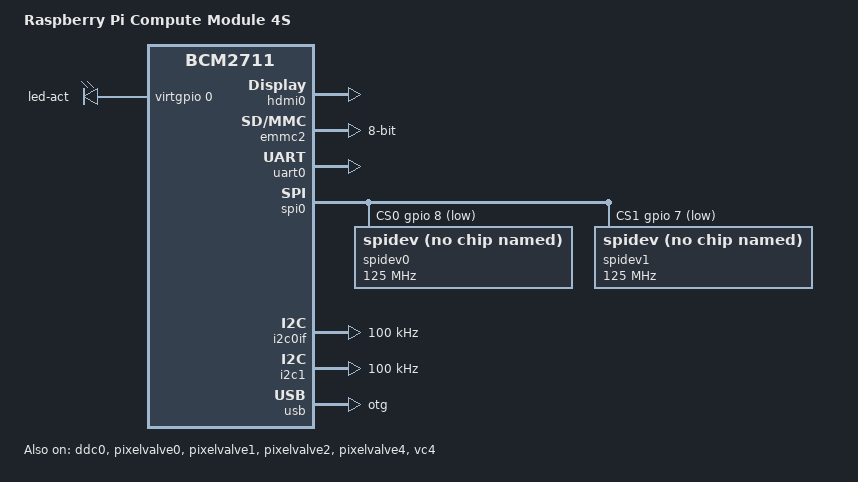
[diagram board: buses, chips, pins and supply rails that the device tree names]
// SPDX-License-Identifier: GPL-2.0
/dts-v1/;
#define BCM2711
#define i2c0 i2c0if
#include "bcm2711.dtsi"
//#include "bcm283x-rpi-wifi-bt.dtsi"
#undef i2c0
#include "bcm270x.dtsi"
#define i2c0 i2c0mux
#include "bcm2711-rpi.dtsi"
#undef i2c0

/ {
	compatible = "raspberrypi,4-compute-module-s", "brcm,bcm2711";
	model = "Raspberry Pi Compute Module 4S";

	leds {
		led-act {
			gpios = <&virtgpio 0 0>;
		};
	};
};

&ddc0 {
	status = "okay";
};

&gpio {
	/*
	 * Parts taken from rpi_SCH_4b_4p0_reduced.pdf and
	 * the official GPU firmware DT blob.
	 *
	 * Legend:
	 * "FOO" = GPIO line named "FOO" on the schematic
	 * "FOO_N" = GPIO line named "FOO" on schematic, active low
	 */
	gpio-line-names = "ID_SDA",
			  "ID_SCL",
			  "SDA1",
			  "SCL1",
			  "GPIO_GCLK",
			  "GPIO5",
			  "GPIO6",
			  "SPI_CE1_N",
			  "SPI_CE0_N",
			  "SPI_MISO",
			  "SPI_MOSI",
			  "SPI_SCLK",
			  "GPIO12",
			  "GPIO13",
			  /* Serial port */
			  "TXD1",
			  "RXD1",
			  "GPIO16",
			  "GPIO17",
			  "GPIO18",
			  "GPIO19",
			  "GPIO20",
			  "GPIO21",
			  "GPIO22",
			  "GPIO23",
			  "GPIO24",
			  "GPIO25",
			  "GPIO26",
			  "GPIO27",
			  "GPIO28",
			  "GPIO29",
			  "GPIO30",
			  "GPIO31",
			  "GPIO32",
			  "GPIO33",
			  "GPIO34",
			  "GPIO35",
			  "GPIO36",
			  "GPIO37",
			  "GPIO38",
			  "GPIO39",
			  "PWM0_MISO",
			  "PWM1_MOSI",
			  "GPIO42",
			  "GPIO43",
			  "GPIO44",
			  "GPIO45";
};

&hdmi0 {
	status = "okay";
};

&pixelvalve0 {
	status = "okay";
};

&pixelvalve1 {
	status = "okay";
};

&pixelvalve2 {
	status = "okay";
};

&pixelvalve4 {
	status = "okay";
};

&pwm1 {
	pinctrl-names = "default";
	pinctrl-0 = <&pwm1_0_gpio40 &pwm1_1_gpio41>;
	status = "okay";
};

/* EMMC2 is used to drive the EMMC card */
&emmc2 {
	bus-width = <8>;
	broken-cd;
	status = "okay";
};

&pcie0 {
	status = "disabled";
};

&vchiq {
	interrupts = <GIC_SPI 34 IRQ_TYPE_LEVEL_HIGH>;
};

&vc4 {
	status = "okay";
};

&vec {
	status = "disabled";
};

// =============================================
// Downstream rpi- changes

#include "bcm2711-rpi-ds.dtsi"

/ {
	soc {
		/delete-node/ pixelvalve@7e807000;
		/delete-node/ hdmi@7e902000;

		virtgpio: virtgpio {
			compatible = "brcm,bcm2835-virtgpio";
			gpio-controller;
			#gpio-cells = <2>;
			firmware = <&firmware>;
			status = "okay";
		};
	};
};

#include "bcm283x-rpi-csi0-2lane.dtsi"
#include "bcm283x-rpi-csi1-4lane.dtsi"
#include "bcm283x-rpi-i2c0mux_0_28.dtsi"

/ {
	chosen {
		bootargs = "coherent_pool=1M snd_bcm2835.enable_headphones=0";
	};

	aliases {
		serial0 = &uart0;
		serial1 = &uart1;
		/delete-property/ i2c20;
		/delete-property/ i2c21;
	};

	/delete-node/ wifi-pwrseq;
};

&uart0 {
	pinctrl-names = "default";
	pinctrl-0 = <&uart0_pins>;
	status = "okay";
};

&spi0 {
	pinctrl-names = "default";
	pinctrl-0 = <&spi0_pins &spi0_cs_pins>;
	cs-gpios = <&gpio 8 1>, <&gpio 7 1>;

	spidev0: spidev@0{
		compatible = "spidev";
		reg = <0>;	/* CE0 */
		#address-cells = <1>;
		#size-cells = <0>;
		spi-max-frequency = <125000000>;
	};

	spidev1: spidev@1{
		compatible = "spidev";
		reg = <1>;	/* CE1 */
		#address-cells = <1>;
		#size-cells = <0>;
		spi-max-frequency = <125000000>;
	};
};

&gpio {
	uart0_pins: uart0_pins {
		brcm,pins;
		brcm,function;
		brcm,pull;
	};
};

&i2c0if {
	clock-frequency = <100000>;
};

&i2c1 {
	pinctrl-names = "default";
	pinctrl-0 = <&i2c1_pins>;
	clock-frequency = <100000>;
};

&i2s {
	pinctrl-names = "default";
	pinctrl-0 = <&i2s_pins>;
};

// =============================================
// Board specific stuff here

/* Enable USB in OTG-aware mode */
&usb {
	compatible = "brcm,bcm2835-usb";
	dr_mode = "otg";
	g-np-tx-fifo-size = <32>;
	g-rx-fifo-size = <558>;
	g-tx-fifo-size = <512 512 512 512 512 256 256>;
	status = "okay";
};

&sdhost {
	status = "disabled";
};

&gpio {
	audio_pins: audio_pins {
		brcm,pins = <>;
		brcm,function = <>;
	};
};

/* Permanently disable HDMI1 */
&hdmi1 {
	compatible = "disabled";
};

/* Permanently disable DDC1 */
&ddc1 {
	compatible = "disabled";
};

&leds {
	act_led: led-act {
		default-state = "off";
		linux,default-trigger = "mmc0";
	};
};

&pwm1 {
	status = "disabled";
};

&vchiq {
	pinctrl-names = "default";
	pinctrl-0 = <&audio_pins>;
};

&cam1_reg {
	gpio = <&gpio 3 GPIO_ACTIVE_HIGH>;
	status = "disabled";
};

cam0_reg: &cam0_regulator {
	gpio = <&gpio 31 GPIO_ACTIVE_HIGH>;
	status = "disabled";
};

i2c_csi_dsi0: &i2c0 {
};

/ {
	__overrides__ {
		audio = <&chosen>,"bootargs{on='snd_bcm2835.enable_hdmi=1',off='snd_bcm2835.enable_hdmi=0'}";

		act_led_gpio = <&act_led>,"gpios:4";
		act_led_activelow = <&act_led>,"gpios:8";
		act_led_trigger = <&act_led>,"linux,default-trigger";

		cam0_reg = <&cam0_reg>,"status";
		cam0_reg_gpio = <&cam0_reg>,"gpio:4";
		cam1_reg = <&cam1_reg>,"status";
		cam1_reg_gpio = <&cam1_reg>,"gpio:4";
	};
};
